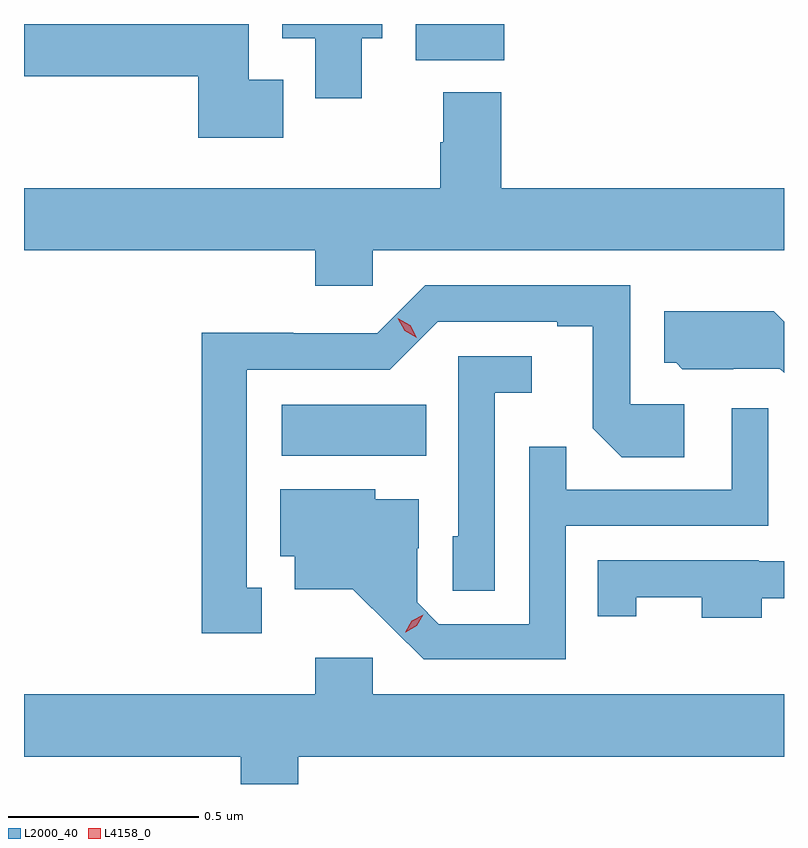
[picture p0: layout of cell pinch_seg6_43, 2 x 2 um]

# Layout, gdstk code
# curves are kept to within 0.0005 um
import gdstk
lib = gdstk.Library(unit=1e-6, precision=1e-09)
def R(c, l, rs):  # rectangles x0, y0, x1, y1
    for r in rs: c.add(gdstk.rectangle(r[:2], r[2:], *l))
def P(c, l, *ps):  # polygons
    for p in ps: c.add(gdstk.Polygon(p, *l))
L2000_40 = (2000, 40)
L4158_0 = (4158, 0)

pinch_seg6_43 = lib.new_cell('pinch_seg6_43')
R(pinch_seg6_43, L2000_40, [(887.736,992.084,888.116,992.218), (888.089,993.125,888.322,993.22)])
P(pinch_seg6_43, L2000_40, [(887.74,993.073),(887.65,993.073),(887.65,993.22),(887.058,993.22),(887.058,993.082),(887.516,993.082),(887.516,992.921),(887.74,992.921)],
  [(887.947,993.182),(888.001,993.182),(888.001,993.22),(887.738,993.22),(887.738,993.182),(887.825,993.182),(887.825,993.024),(887.947,993.024)],
  [(887.976,992.624),(889.058,992.624),(889.058,992.788),(888.314,992.788),(888.314,993.04),(888.161,993.04),(888.161,992.909),(888.154,992.909),(888.154,992.788),(887.058,992.788),(887.058,992.624),(887.825,992.624),(887.825,992.531),(887.976,992.531)],
  [(887.683,991.737),(887.644,991.737),(887.644,992.31),(888.021,992.31),(888.147,992.436),(888.461,992.436),(888.461,992.424),(888.555,992.424),(888.555,992.156),(888.631,992.08),(888.796,992.08),(888.796,992.22),(888.654,992.22),(888.654,992.532),(888.114,992.532),(887.988,992.406),(887.766,992.406),(887.766,992.408),(887.526,992.408),(887.526,991.617),(887.683,991.617)],
  [(889.058,992.437),(889.031,992.464),(888.743,992.464),(888.743,992.328),(888.774,992.328),(888.79,992.312),(888.924,992.312),(888.924,992.313),(889.047,992.313),(889.058,992.302)],
  [(888.297,992.249),(888.394,992.249),(888.394,992.346),(888.201,992.346),(888.201,991.872),(888.186,991.872),(888.186,991.729),(888.297,991.729)],
  [(888.483,991.899),(889.017,991.899),(889.017,992.209),(888.921,992.209),(888.921,991.995),(888.485,991.995),(888.485,992.108),(888.387,992.108),(888.387,991.641),(888.15,991.641),(888.093,991.698),(888.093,991.84),(888.097,991.84),(888.097,991.969),(887.982,991.969),(887.982,991.996),(887.732,991.996),(887.732,991.82),(887.771,991.82),(887.771,991.733),(887.923,991.733),(888.11,991.548),(888.483,991.548)],
  [(889,991.709),(889.058,991.709),(889.058,991.806),(888.992,991.806),(888.992,991.809),(888.568,991.809),(888.568,991.662),(888.669,991.662),(888.669,991.711),(888.842,991.711),(888.842,991.658),(889,991.658)],
  [(887.058,991.292),(887.628,991.292),(887.628,991.22),(887.78,991.22),(887.78,991.292),(889.058,991.292),(889.058,991.456),(887.976,991.456),(887.976,991.552),(887.825,991.552),(887.825,991.456),(887.058,991.456)])
P(pinch_seg6_43, L4158_0, [(888.061,991.62),(888.061,991.62),(888.078,991.65),(888.108,991.666),(888.108,991.666),(888.108,991.666),(888.092,991.636),(888.062,991.62)],
  [(888.091,992.394),(888.06,992.413),(888.042,992.446),(888.042,992.446),(888.042,992.446),(888.074,992.427),(888.091,992.394),(888.091,992.394)])

lib.write_gds('pinch_seg6_43.gds')
